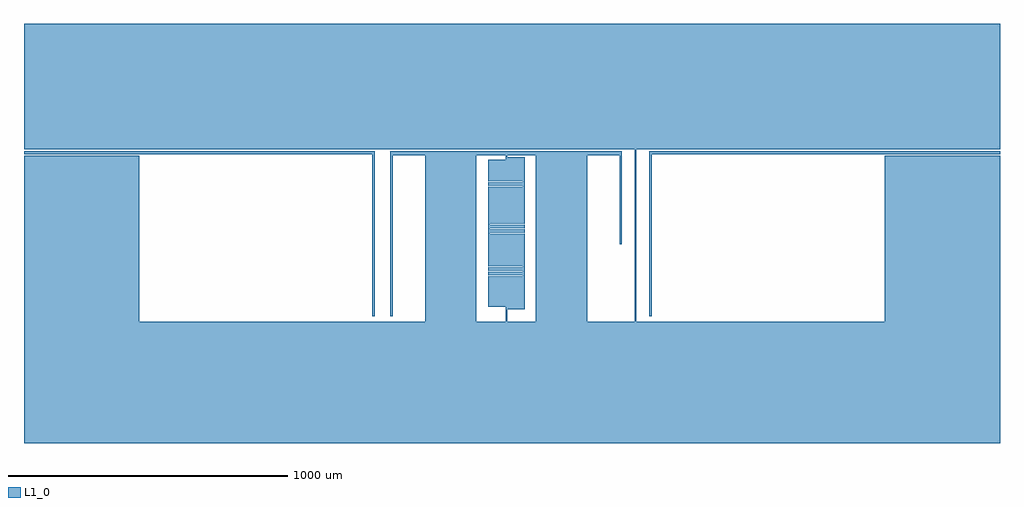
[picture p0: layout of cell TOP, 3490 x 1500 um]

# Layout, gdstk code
import gdstk
lib = gdstk.Library(unit=1e-6, precision=1e-09)
def R(c, l, rs):  # rectangles x0, y0, x1, y1
    for r in rs: c.add(gdstk.rectangle(r[:2], r[2:], *l))
def A(c, l, x, y, w, h, nx, ny, dx, dy):  # array of equal rectangles
    R(c, l, [(x+i*dx, y+j*dy, x+i*dx+w, y+j*dy+h) for i in range(nx) for j in range(ny)])
def P(c, l, *ps):  # polygons
    for p in ps: c.add(gdstk.Polygon(p, *l))
L1_0 = (1, 0)

top = lib.new_cell('TOP')
A(top, L1_0, 1784, -572, 6, 14, 1, 34, 0, 16)
R(top, L1_0, [(0,0,1784,448)])
P(top, L1_0, [(1318,-22),(1722,-22),(1722,-36),(1784,-36),(1784,-30),(1728,-30),(1728,-22),(1784,-22),(1784,-8),(1310,-8),(1310,-598),(1318,-598)],
  [(1784,-618),(1728,-618),(1728,-572),(1784,-572),(1784,-566),(1722,-566),(1722,-618),(1618,-618),(1618,-24),(1434,-24),(1434,-618),(412,-618),(412,-24),(0,-24),(0,-1052),(1784,-1052)],
  [(1666,-46),(1666,-44),(1784,-44),(1784,-38),(1660,-38),(1660,-52),(1784,-52),(1784,-46)],
  [(1666,-62),(1666,-60),(1784,-60),(1784,-54),(1660,-54),(1660,-68),(1784,-68),(1784,-62)],
  [(1666,-78),(1666,-76),(1784,-76),(1784,-70),(1660,-70),(1660,-84),(1784,-84),(1784,-78)],
  [(1666,-94),(1666,-92),(1784,-92),(1784,-86),(1660,-86),(1660,-100),(1784,-100),(1784,-94)],
  [(1666,-110),(1666,-108),(1784,-108),(1784,-102),(1660,-102),(1660,-116),(1784,-116),(1784,-110)],
  [(1666,-126),(1666,-124),(1784,-124),(1784,-118),(1660,-118),(1660,-132),(1784,-132),(1784,-126)],
  [(1666,-142),(1666,-140),(1784,-140),(1784,-134),(1660,-134),(1660,-148),(1784,-148),(1784,-142)],
  [(1666,-158),(1666,-156),(1784,-156),(1784,-150),(1660,-150),(1660,-164),(1784,-164),(1784,-158)],
  [(1666,-174),(1666,-172),(1784,-172),(1784,-166),(1660,-166),(1660,-180),(1784,-180),(1784,-174)],
  [(1666,-190),(1666,-188),(1784,-188),(1784,-182),(1660,-182),(1660,-196),(1784,-196),(1784,-190)],
  [(1666,-206),(1666,-204),(1784,-204),(1784,-198),(1660,-198),(1660,-212),(1784,-212),(1784,-206)],
  [(1666,-222),(1666,-220),(1784,-220),(1784,-214),(1660,-214),(1660,-228),(1784,-228),(1784,-222)],
  [(1666,-238),(1666,-236),(1784,-236),(1784,-230),(1660,-230),(1660,-244),(1784,-244),(1784,-238)],
  [(1666,-254),(1666,-252),(1784,-252),(1784,-246),(1660,-246),(1660,-260),(1784,-260),(1784,-254)],
  [(1666,-270),(1666,-268),(1784,-268),(1784,-262),(1660,-262),(1660,-276),(1784,-276),(1784,-270)],
  [(1666,-286),(1666,-284),(1784,-284),(1784,-278),(1660,-278),(1660,-292),(1784,-292),(1784,-286)],
  [(1666,-302),(1666,-300),(1784,-300),(1784,-294),(1660,-294),(1660,-308),(1784,-308),(1784,-302)],
  [(1666,-318),(1666,-316),(1784,-316),(1784,-310),(1660,-310),(1660,-324),(1784,-324),(1784,-318)],
  [(1666,-334),(1666,-332),(1784,-332),(1784,-326),(1660,-326),(1660,-340),(1784,-340),(1784,-334)],
  [(1666,-350),(1666,-348),(1784,-348),(1784,-342),(1660,-342),(1660,-356),(1784,-356),(1784,-350)],
  [(1666,-366),(1666,-364),(1784,-364),(1784,-358),(1660,-358),(1660,-372),(1784,-372),(1784,-366)],
  [(1666,-382),(1666,-380),(1784,-380),(1784,-374),(1660,-374),(1660,-388),(1784,-388),(1784,-382)],
  [(1666,-398),(1666,-396),(1784,-396),(1784,-390),(1660,-390),(1660,-404),(1784,-404),(1784,-398)],
  [(1666,-414),(1666,-412),(1784,-412),(1784,-406),(1660,-406),(1660,-420),(1784,-420),(1784,-414)],
  [(1666,-430),(1666,-428),(1784,-428),(1784,-422),(1660,-422),(1660,-436),(1784,-436),(1784,-430)],
  [(1666,-446),(1666,-444),(1784,-444),(1784,-438),(1660,-438),(1660,-452),(1784,-452),(1784,-446)],
  [(1666,-462),(1666,-460),(1784,-460),(1784,-454),(1660,-454),(1660,-468),(1784,-468),(1784,-462)],
  [(1666,-478),(1666,-476),(1784,-476),(1784,-470),(1660,-470),(1660,-484),(1784,-484),(1784,-478)],
  [(1666,-494),(1666,-492),(1784,-492),(1784,-486),(1660,-486),(1660,-500),(1784,-500),(1784,-494)],
  [(1666,-510),(1666,-508),(1784,-508),(1784,-502),(1660,-502),(1660,-516),(1784,-516),(1784,-510)],
  [(1666,-526),(1666,-524),(1784,-524),(1784,-518),(1660,-518),(1660,-532),(1784,-532),(1784,-526)],
  [(1666,-542),(1666,-540),(1784,-540),(1784,-534),(1660,-534),(1660,-548),(1784,-548),(1784,-542)],
  [(1666,-558),(1666,-556),(1784,-556),(1784,-550),(1660,-550),(1660,-564),(1784,-564),(1784,-558)],
  [(3490,-24),(3078,-24),(3078,-618),(2190,-618),(2190,0),(3490,0),(3490,448),(1784,448),(1784,0),(2184,0),(2184,-618),(2014,-618),(2014,-24),(1830,-24),(1830,-618),(1784,-618),(1784,-1052),(3490,-1052)],
  [(2138,-8),(1784,-8),(1784,-22),(2130,-22),(2130,-340),(2138,-340)],
  [(1254,-8),(0,-8),(0,-18),(1246,-18),(1246,-598),(1254,-598)],
  [(2244,-18),(3490,-18),(3490,-8),(2236,-8),(2236,-598),(2244,-598)])

lib.write_gds('TOP.gds')
